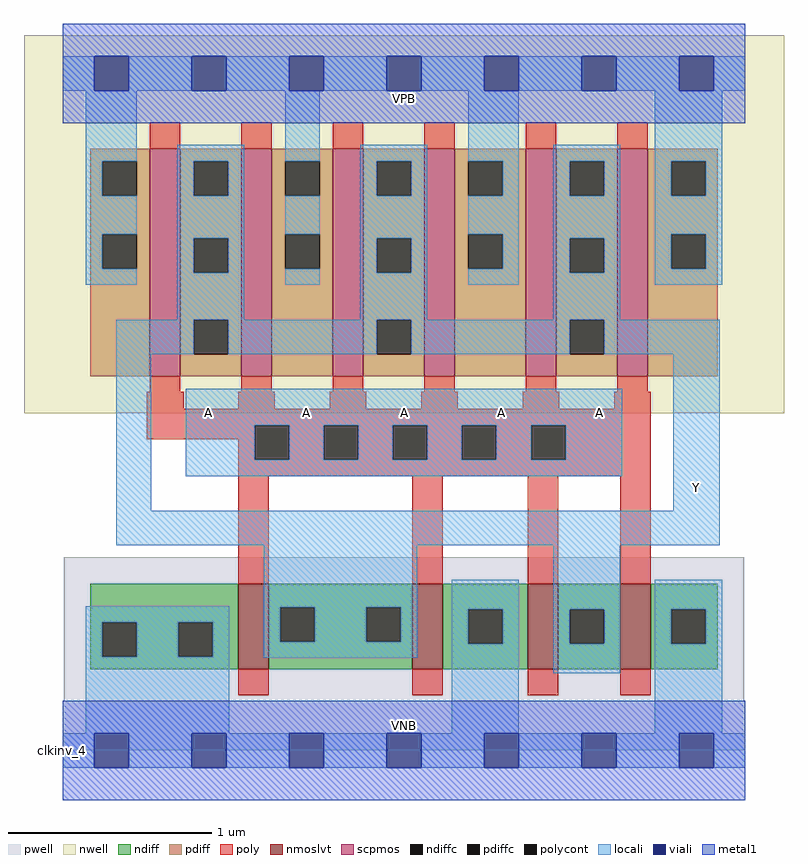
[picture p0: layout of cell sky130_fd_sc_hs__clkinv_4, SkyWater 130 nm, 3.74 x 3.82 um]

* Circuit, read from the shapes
.subckt sky130_fd_sc_hs__clkinv_4 A VGND VNB VPB VPWR Y
XM1 Y A VGND VNB sky130_fd_pr__nfet_01v8_lvt w=0.42 l=0.15 m=4
XM2 Y A VPWR VPB sky130_fd_pr__pfet_01v8 w=1.12 l=0.15 m=6
.ends

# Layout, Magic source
magic
tech sky130A
magscale 1 2
<< nwell >>
rect -38 332 710 704
<< pwell >>
rect 1 49 671 190
rect 0 0 672 49
<< scpmos >>
rect 86 368 116 592
rect 176 368 206 592
rect 266 368 296 592
rect 356 368 386 592
rect 456 368 486 592
rect 546 368 576 592
<< nmoslvt >>
rect 173 80 203 164
rect 344 80 374 164
rect 458 80 488 164
rect 549 80 579 164
<< ndiff >>
rect 27 126 173 164
rect 27 92 39 126
rect 73 92 114 126
rect 148 92 173 126
rect 27 80 173 92
rect 203 141 344 164
rect 203 107 214 141
rect 248 107 299 141
rect 333 107 344 141
rect 203 80 344 107
rect 374 139 458 164
rect 374 105 399 139
rect 433 105 458 139
rect 374 80 458 105
rect 488 139 549 164
rect 488 105 499 139
rect 533 105 549 139
rect 488 80 549 105
rect 579 139 645 164
rect 579 105 599 139
rect 633 105 645 139
rect 579 80 645 105
<< pdiff >>
rect 27 580 86 592
rect 27 546 39 580
rect 73 546 86 580
rect 27 508 86 546
rect 27 474 39 508
rect 73 474 86 508
rect 27 368 86 474
rect 116 580 176 592
rect 116 546 129 580
rect 163 546 176 580
rect 116 504 176 546
rect 116 470 129 504
rect 163 470 176 504
rect 116 424 176 470
rect 116 390 129 424
rect 163 390 176 424
rect 116 368 176 390
rect 206 580 266 592
rect 206 546 219 580
rect 253 546 266 580
rect 206 508 266 546
rect 206 474 219 508
rect 253 474 266 508
rect 206 368 266 474
rect 296 580 356 592
rect 296 546 309 580
rect 343 546 356 580
rect 296 504 356 546
rect 296 470 309 504
rect 343 470 356 504
rect 296 424 356 470
rect 296 390 309 424
rect 343 390 356 424
rect 296 368 356 390
rect 386 580 456 592
rect 386 546 399 580
rect 433 546 456 580
rect 386 508 456 546
rect 386 474 399 508
rect 433 474 456 508
rect 386 368 456 474
rect 486 580 546 592
rect 486 546 499 580
rect 533 546 546 580
rect 486 504 546 546
rect 486 470 499 504
rect 533 470 546 504
rect 486 424 546 470
rect 486 390 499 424
rect 533 390 546 424
rect 486 368 546 390
rect 576 580 645 592
rect 576 546 599 580
rect 633 546 645 580
rect 576 508 645 546
rect 576 474 599 508
rect 633 474 645 508
rect 576 368 645 474
<< ndiffc >>
rect 39 92 73 126
rect 114 92 148 126
rect 214 107 248 141
rect 299 107 333 141
rect 399 105 433 139
rect 499 105 533 139
rect 599 105 633 139
<< pdiffc >>
rect 39 546 73 580
rect 39 474 73 508
rect 129 546 163 580
rect 129 470 163 504
rect 129 390 163 424
rect 219 546 253 580
rect 219 474 253 508
rect 309 546 343 580
rect 309 470 343 504
rect 309 390 343 424
rect 399 546 433 580
rect 399 474 433 508
rect 499 546 533 580
rect 499 470 533 504
rect 499 390 533 424
rect 599 546 633 580
rect 599 474 633 508
<< poly >>
rect 86 592 116 618
rect 176 592 206 618
rect 266 592 296 618
rect 356 592 386 618
rect 456 592 486 618
rect 546 592 576 618
rect 86 353 116 368
rect 176 353 206 368
rect 266 353 296 368
rect 356 353 386 368
rect 456 353 486 368
rect 546 353 576 368
rect 83 336 119 353
rect 173 336 209 353
rect 263 336 299 353
rect 353 336 389 353
rect 453 336 489 353
rect 543 336 579 353
rect 83 320 579 336
rect 83 306 189 320
rect 173 286 189 306
rect 223 286 257 320
rect 291 286 325 320
rect 359 286 393 320
rect 427 286 461 320
rect 495 286 579 320
rect 173 270 579 286
rect 173 164 203 270
rect 344 164 374 270
rect 458 164 488 270
rect 549 164 579 270
rect 173 54 203 80
rect 344 54 374 80
rect 458 54 488 80
rect 549 54 579 80
<< polycont >>
rect 189 286 223 320
rect 257 286 291 320
rect 325 286 359 320
rect 393 286 427 320
rect 461 286 495 320
<< locali >>
rect 0 649 31 683
rect 65 649 127 683
rect 161 649 223 683
rect 257 649 319 683
rect 353 649 415 683
rect 449 649 511 683
rect 545 649 607 683
rect 641 649 672 683
rect 23 580 73 649
rect 23 546 39 580
rect 23 508 73 546
rect 23 474 39 508
rect 23 458 73 474
rect 113 580 179 596
rect 113 546 129 580
rect 163 546 179 580
rect 113 504 179 546
rect 113 470 129 504
rect 163 470 179 504
rect 113 424 179 470
rect 219 580 253 649
rect 219 508 253 546
rect 219 458 253 474
rect 293 580 359 596
rect 293 546 309 580
rect 343 546 359 580
rect 293 504 359 546
rect 293 470 309 504
rect 343 470 359 504
rect 293 424 359 470
rect 399 580 449 649
rect 433 546 449 580
rect 399 508 449 546
rect 433 474 449 508
rect 399 458 449 474
rect 483 580 549 596
rect 483 546 499 580
rect 533 546 549 580
rect 483 504 549 546
rect 483 470 499 504
rect 533 470 549 504
rect 483 424 549 470
rect 583 580 649 649
rect 583 546 599 580
rect 633 546 649 580
rect 583 508 649 546
rect 583 474 599 508
rect 633 474 649 508
rect 583 458 649 474
rect 53 390 129 424
rect 163 390 309 424
rect 343 390 499 424
rect 533 390 647 424
rect 53 236 87 390
rect 121 320 551 356
rect 121 286 189 320
rect 223 286 257 320
rect 291 286 325 320
rect 359 286 393 320
rect 427 286 461 320
rect 495 286 551 320
rect 121 270 551 286
rect 601 236 647 390
rect 53 202 647 236
rect 23 126 164 142
rect 23 92 39 126
rect 73 92 114 126
rect 148 92 164 126
rect 23 17 164 92
rect 198 141 349 202
rect 198 107 214 141
rect 248 107 299 141
rect 333 107 349 141
rect 198 91 349 107
rect 383 139 449 168
rect 383 105 399 139
rect 433 105 449 139
rect 383 17 449 105
rect 483 139 549 202
rect 483 105 499 139
rect 533 105 549 139
rect 483 76 549 105
rect 583 139 649 168
rect 583 105 599 139
rect 633 105 649 139
rect 583 17 649 105
rect 0 -17 31 17
rect 65 -17 127 17
rect 161 -17 223 17
rect 257 -17 319 17
rect 353 -17 415 17
rect 449 -17 511 17
rect 545 -17 607 17
rect 641 -17 672 17
<< viali >>
rect 31 649 65 683
rect 127 649 161 683
rect 223 649 257 683
rect 319 649 353 683
rect 415 649 449 683
rect 511 649 545 683
rect 607 649 641 683
rect 31 -17 65 17
rect 127 -17 161 17
rect 223 -17 257 17
rect 319 -17 353 17
rect 415 -17 449 17
rect 511 -17 545 17
rect 607 -17 641 17
<< metal1 >>
rect 0 683 672 715
rect 0 649 31 683
rect 65 649 127 683
rect 161 649 223 683
rect 257 649 319 683
rect 353 649 415 683
rect 449 649 511 683
rect 545 649 607 683
rect 641 649 672 683
rect 0 617 672 649
rect 0 17 672 49
rect 0 -17 31 17
rect 65 -17 127 17
rect 161 -17 223 17
rect 257 -17 319 17
rect 353 -17 415 17
rect 449 -17 511 17
rect 545 -17 607 17
rect 641 -17 672 17
rect 0 -49 672 -17
<< labels >>
rlabel comment s 0 0 0 0 4 clkinv_4
flabel pwell s 0 0 672 49 0 FreeSans 200 0 0 0 VNB
port 3 nsew ground bidirectional
flabel nwell s 0 617 672 666 0 FreeSans 200 0 0 0 VPB
port 4 nsew power bidirectional
flabel metal1 s 0 617 672 666 0 FreeSans 340 0 0 0 VPWR
port 5 nsew power bidirectional
flabel metal1 s 0 0 672 49 0 FreeSans 340 0 0 0 VGND
port 2 nsew ground bidirectional
flabel locali s 607 242 641 276 0 FreeSans 340 0 0 0 Y
port 6 nsew signal output
flabel locali s 127 316 161 350 0 FreeSans 340 0 0 0 A
port 1 nsew signal input
flabel locali s 223 316 257 350 0 FreeSans 340 0 0 0 A
port 1 nsew signal input
flabel locali s 319 316 353 350 0 FreeSans 340 0 0 0 A
port 1 nsew signal input
flabel locali s 415 316 449 350 0 FreeSans 340 0 0 0 A
port 1 nsew signal input
flabel locali s 511 316 545 350 0 FreeSans 340 0 0 0 A
port 1 nsew signal input
<< properties >>
string LEFsite unit
string LEFclass CORE
string FIXED_BBOX 0 0 672 666
string GDS_FILE $PDKPATH/libs.ref/sky130_fd_sc_hs/gds/sky130_fd_sc_hs.gds
string LEFsymmetry X Y
string GDS_END 2796596
string GDS_START 2790546
<< end >>
